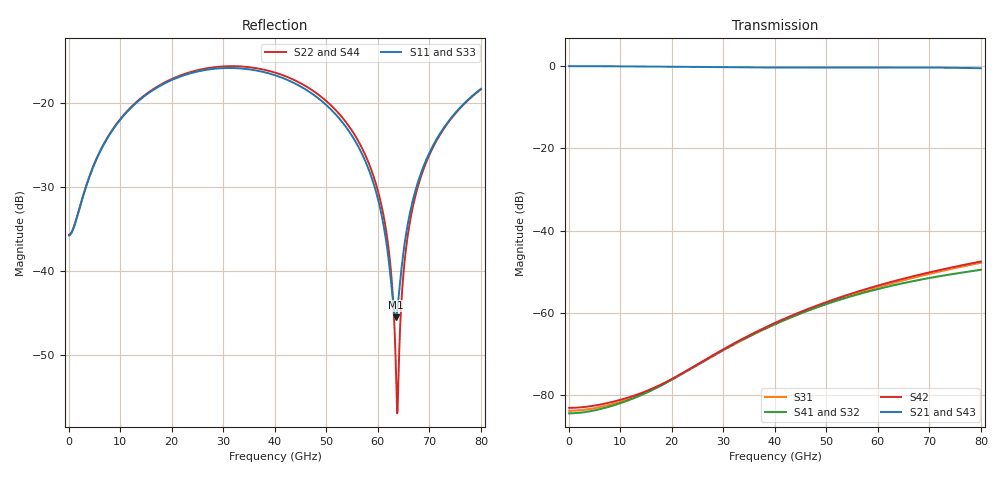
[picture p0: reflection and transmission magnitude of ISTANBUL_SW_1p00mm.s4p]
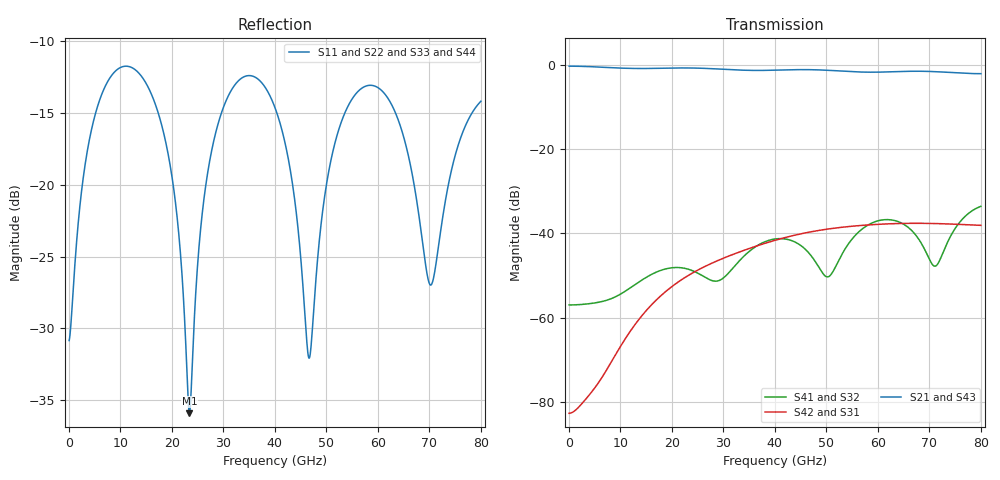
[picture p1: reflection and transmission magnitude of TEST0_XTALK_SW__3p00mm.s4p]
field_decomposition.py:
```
"""
Istanbul 5 mm pair, CST field monitors at 30 GHz, port 1 (line A near end) driven.
Lines of samples along z at x = 1 um (mid gold height), y = +-0.305425 mm
(centre of the signal-ground gap of A / B on the side facing the other line).

1. Cell-average (200 um period) E_y and H_x.
2. Line A: fit forward + backward line waves (common gamma, wave impedance Zw).
3. Line B: forward and backward envelopes (polynomial in z) on the line gamma,
   from E and from H separately.
4. Group delay of NEXT / FEXT / through from the four .s4p files.
"""
import os, numpy as np
from scipy.optimize import least_squares
import matplotlib; matplotlib.use("Agg"); import matplotlib.pyplot as plt

HERE = os.path.dirname(os.path.abspath(__file__)); UP = os.path.dirname(HERE)
F0, C0, W, L = 30e9, 2.99792458e8, 100, 5.0
K0 = 2*np.pi*F0/C0*1e-3                          # rad/mm

def load(n):
    a = np.loadtxt(os.path.join(HERE, n), skiprows=2)
    return a[:, 2], a[:, 3::2] + 1j*a[:, 4::2]
z, EA = load("e-field_f30_Ypos_A.txt"); _, EB = load("e-field_f30_Yneg_B.txt")
_, HA = load("h-field_f30_Ypos_A.txt"); _, HB = load("h-field_f30_Yneg_B.txt")
cav = lambda v: np.convolve(v, np.ones(W)/W, mode="valid")
zc = cav(z); E = {"A": cav(EA[:, 1]), "B": cav(EB[:, 1])}; H = {"A": cav(HA[:, 0]), "B": cav(HB[:, 0])}
m = (zc > 0.25) & (zc < 4.75); zz = zc[m]

# ---- line A: two line waves, E and H jointly
def fitA(q, ret=False):
    beta, alpha, zr, zi = q; Zw = zr + 1j*zi; g = alpha + 1j*beta
    ef, eb = np.exp(-g*zz), np.exp(g*zz)
    M = np.vstack([np.column_stack([ef, eb]), np.column_stack([ef/Zw, -eb/Zw])])
    y = np.concatenate([E["A"][m], H["A"][m]])
    sc = np.concatenate([np.full(m.sum(), 1/abs(E["A"][m]).mean()), np.full(m.sum(), 1/abs(H["A"][m]).mean())])
    ab, *_ = np.linalg.lstsq(M*sc[:, None], y*sc, rcond=None)
    r = (M @ ab - y)*sc
    return (ab, np.linalg.norm(r)/np.linalg.norm(y*sc)) if ret else np.concatenate([r.real, r.imag])
q = min((least_squares(fitA, [2.1*K0, 0.01, s, 0]) for s in (-300, 300)), key=lambda s: s.cost).x
(aA, bA), errA = fitA(q, True); g = q[1] + 1j*q[0]; Zw = q[2] + 1j*q[3]

# ---- line B: polynomial envelopes on the line gamma, E and H separately
KP = 3
def envB(y):
    cols = [np.exp(-g*zz)*(zz/L)**k for k in range(KP)] + [np.exp(g*zz)*((L-zz)/L)**k for k in range(KP)]
    M = np.column_stack(cols); c, *_ = np.linalg.lstsq(M, y, rcond=None)
    return c, np.linalg.norm(M @ c - y)/np.linalg.norm(y)
cE, errE = envB(E["B"][m]); cH, errH = envB(H["B"][m])
fwd = lambda c, x: sum(c[k]*(x/L)**k for k in range(KP))
bwd = lambda c, x: sum(c[KP+k]*((L-x)/L)**k for k in range(KP))
db = lambda x: 20*np.log10(np.abs(x))

# ---- group delays from the s-parameters
import skrf
files = [("1", "ISTANBUL_SW_1p00mm.s4p"), ("3", "TEST0_XTALK_SW__3p00mm.s4p"),
         ("5", "TEST0_XTALK_SW_5mm.s4p"), ("8.75", "ISTANBUL_SW_8p75mm.s4p")]
gd_rows = []
for lab, fn in files:
    n = skrf.Network(os.path.join(UP, fn)); w = 2*np.pi*n.f
    gd = lambda x: -np.gradient(np.unwrap(np.angle(x)), w)*1e12
    sel = (n.f >= 10e9) & (n.f <= 40e9)
    t21, tN, tF = (np.median(gd(n.s[:, i, 0])[sel]) for i in (1, 2, 3))
    i30 = np.argmin(abs(n.f - F0))
    gd_rows.append((float(lab), t21, tN, tF, db(n.s[i30, 2, 0]), db(n.s[i30, 3, 0])))

if __name__ == "__main__":
    print(f"A: n = {q[0]/K0:.4f}, alpha = {q[1]*86.86:.2f} dB/cm, Zw = {Zw:.0f}, |b/a| = {abs(bA/aA):.3f}, fit residual {errA:.4f}")
    print(f"B envelope fits: residual E {errE:.4f}, H {errH:.4f}")
    print(" z(mm)  B fwd/E  B fwd/H   B bwd/E  B bwd/H  (dB re A forward)")
    for x in (0.25, 1, 2, 3, 4, 4.75):
        print(f" {x:5.2f}  {db(fwd(cE,x)/aA):6.1f}  {db(fwd(cH,x)*Zw/aA):6.1f}   {db(bwd(cE,x)/aA):6.1f}  {db(-bwd(cH,x)*Zw/aA):6.1f}")
    print(" L(mm)  t21   tNEXT  tNEXT/t21  (ps, median 10-40 GHz)   NEXT, FEXT at 30 GHz (dB)")
    for r in gd_rows:
        print(f" {r[0]:5.2f} {r[1]:6.1f} {r[2]:6.1f}  {r[2]/r[1]:5.2f}    {r[4]:6.1f} {r[5]:6.1f}")

    fig, ax = plt.subplots(3, 1, figsize=(9, 10), gridspec_kw=dict(height_ratios=[1, 1, 0.9]))
    a0 = ax[0]
    a0.plot(z, db(EA[:, 1]/aA), color="#3f7fd0", lw=0.8, label="line A, raw")
    a0.plot(z, db(EB[:, 1]/aA), color="#e2504a", lw=0.8, label="line B, raw")
    a0.plot(zc, db(E["B"]/aA), color="#8b1a1a", lw=1.8, label="line B, cell-averaged")
    a0.set_ylabel("$|E_y|$ re A forward wave (dB)"); a0.set_xlim(-0.05, 5.05); a0.set_ylim(-75, 10)
    a0.set_title("Istanbul 5 mm, 30 GHz, port 1 (A near end) driven: $E_y$ at the centre of the inner gaps")
    a1 = ax[1]; xs = np.linspace(0.25, 4.75, 200)
    a1.plot(xs, db(bwd(cE, xs)/aA), color="#8b1a1a", lw=2, label="B backward wave, from $E_y$")
    a1.plot(xs, db(-bwd(cH, xs)*Zw/aA), "--", color="#8b1a1a", lw=1.5, label="B backward wave, from $H_x$")
    a1.plot(xs, db(fwd(cE, xs)/aA), color="#2e8b57", lw=2, label="B forward wave, from $E_y$")
    a1.plot(xs, db(fwd(cH, xs)*Zw/aA), "--", color="#2e8b57", lw=1.5, label="B forward wave, from $H_x$")
    a1.axhline(gd_rows[2][4], color="#8b1a1a", ls=":", lw=1, label=f"|S31| NEXT = {gd_rows[2][4]:.1f} dB")
    a1.axhline(gd_rows[2][5], color="#2e8b57", ls=":", lw=1, label=f"|S41| FEXT = {gd_rows[2][5]:.1f} dB")
    a1.set_ylabel("wave amplitude on B\nre A forward wave (dB)"); a1.set_xlabel("z (mm)"); a1.set_xlim(-0.05, 5.05)
    a2 = ax[2]; Ls = [r[0] for r in gd_rows]
    a2.plot(Ls, [r[1] for r in gd_rows], "o-", color="#3f7fd0", label="through S21")
    a2.plot(Ls, [r[2] for r in gd_rows], "s-", color="#8b1a1a", label="NEXT S31")
    a2.plot(Ls, [2*r[1] for r in gd_rows], ":", color="#3f7fd0", label="2 x through (round trip)")
    a2.set_xlabel("line length (mm)"); a2.set_ylabel("group delay, median 10-40 GHz (ps)")
    for a in ax:
        a.grid(alpha=0.3); a.legend(fontsize=8, loc="best")
    fig.tight_layout(); fig.savefig(os.path.join(HERE, "field_decomposition.png"), dpi=130)
```
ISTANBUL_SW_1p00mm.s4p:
! TOUCHSTONE file generated by CST MICROWAVE STUDIO
! Date and time: Wed Oct 21 13:39:17 2026
! Project name: TEST0_XTALK_SW_1mm.cst
! Parameters = {L=1; L1=0.01; L2=0.076; PITCH=0.2; START_POSITION=0.075; W1=0.002; W2=0.022; gap=0.00415; interaxis=0.625; ln_thickness=0.000275; mtx=0.002; si_thickness=0.3; sio2_thickness=0.0047; w=1; wg=0.03; ws=0.01}
! Header version: 2024
! Port assignment regex: !\s*Touchstone port\s*([0-9]+)\s*=\s*(CST MWS port|CST DES external port|CST DES block port)\s*(.+)\s* \(\"(.*)\"\)(\s*mode\s*([0-9]+))?.*
! Touchstone port assignment:
! Touchstone port 1 = CST MWS port 1 ("")
! Touchstone port 2 = CST MWS port 2 ("")
! Touchstone port 3 = CST MWS port 3 ("")
! Touchstone port 4 = CST MWS port 4 ("")
# GHz S MA R 50
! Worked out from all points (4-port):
!   1000 points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, 80 MHz to 80 GHz, reference 50 ohm
!   strongest paths, dB at 80 MHz, 20.08 GHz, 40.08 GHz, 60.08 GHz, 80 GHz:
!     S21: -0.1, -0.3, -0.5, -0.4, -0.6
!     S43: -0.1, -0.3, -0.5, -0.4, -0.6
!     S42: -83.0, -75.9, -62.4, -53.3, -47.5
!     S41: -84.3, -76.1, -62.6, -54.2, -49.5
!     S32: -84.3, -76.1, -62.6, -54.2, -49.5
!     S31: -83.7, -76.1, -62.7, -53.7, -47.8
!   lowest |S11| = -45.5 dB at 63.44 GHz (marker M1), VSWR 1.01, Z = 50.5 + j0.0504 ohm
!   |S11| at or under -10 dB: start of sweep to end of sweep
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0.08  0.01632 2.1  0.9835 -0.2  6.532e-05 178.9  6.08e-05 -1.1
      0.9835 -0.2  0.01648 2.0  6.083e-05 -1.1  7.081e-05 178.9
      6.532e-05 178.9  6.083e-05 -1.1  0.01632 2.1  0.9835 -0.2
      6.08e-05 -1.1  7.081e-05 178.9  0.9835 -0.2  0.01648 2.0
63.44  0.005305 5.4  0.9501 -175.9  0.002356 -51.4  0.002196 127.5
       0.9501 -175.9  0.003063 -76.1  0.002196 127.5  0.002464 -50.1
       0.002356 -51.4  0.002196 127.5  0.005304 5.4  0.9501 -175.9
       0.002196 127.5  0.002464 -50.1  0.9501 -175.9  0.003063 -76.1
80  0.1222 54.5  0.9283 136.9  0.004067 -173.7  0.003344 -1.2
    0.9283 136.9  0.1214 31.7  0.003344 -1.1  0.004218 -171.9
    0.004067 -173.7  0.003344 -1.1  0.1222 54.5  0.9283 136.9
    0.003344 -1.2  0.004218 -171.9  0.9283 136.9  0.1214 31.7
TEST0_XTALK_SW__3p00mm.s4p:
! TOUCHSTONE file generated by CST MICROWAVE STUDIO
! Date and time: Thu Oct 22 15:25:15 2026
! Project name: TEST0_XTALK_SW_3mm.cst
! Parameters = {L=3; L1=0.01; L2=0.076; PITCH=0.2; START_POSITION=0.1; W1=0.002; W2=0.022; gap=0.00415; interaxis=0.625; ln_thickness=0.000275; mtx=0.002; si_thickness=0.3; sio2_thickness=0.0047; w=1; wg=0.03; ws=0.01}
! Header version: 2024
! Port assignment regex: !\s*Touchstone port\s*([0-9]+)\s*=\s*(CST MWS port|CST DES external port|CST DES block port)\s*(.+)\s* \(\"(.*)\"\)(\s*mode\s*([0-9]+))?.*
! Touchstone port assignment:
! Touchstone port 1 = CST MWS port 1 ("")
! Touchstone port 2 = CST MWS port 2 ("")
! Touchstone port 3 = CST MWS port 3 ("")
! Touchstone port 4 = CST MWS port 4 ("")
# GHz S MA R 50
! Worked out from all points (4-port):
!   1000 points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, 80 MHz to 80 GHz, reference 50 ohm
!   strongest paths, dB at 80 MHz, 20.08 GHz, 40.08 GHz, 60.08 GHz, 80 GHz:
!     S21: -0.3, -0.7, -1.2, -1.7, -2.0
!     S43: -0.3, -0.7, -1.2, -1.7, -2.0
!     S42: -82.7, -52.6, -41.6, -37.8, -38.1
!     S31: -82.7, -52.6, -41.6, -37.8, -38.1
!     S41: -57.0, -48.1, -41.3, -37.0, -33.6
!     S32: -57.0, -48.1, -41.3, -37.0, -33.6
!   lowest |S11| = -35.9 dB at 23.44 GHz (marker M1), VSWR 1.03, Z = 51.6 - j0.13 ohm
!   |S11| at or under -10 dB: start of sweep to end of sweep
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0.08  0.02868 5.3  0.9713 -0.6  7.33e-05 176.5  0.001416 -2.4
      0.9713 -0.6  0.02867 5.3  0.001416 -2.4  7.315e-05 176.5
      7.328e-05 176.5  0.001416 -2.4  0.02868 5.3  0.9713 -0.6
      0.001416 -2.4  7.314e-05 176.5  0.9713 -0.6  0.02868 5.3
23.44  0.01599 -4.5  0.9245 -178.5  0.003234 -38.0  0.003727 91.2
       0.9245 -178.5  0.01603 -4.6  0.003727 91.2  0.003234 -38.0
       0.003234 -38.0  0.003727 91.2  0.01599 -4.5  0.9245 -178.5
       0.003727 91.2  0.003234 -38.0  0.9245 -178.5  0.01603 -4.6
80  0.1957 11.8  0.791 116.2  0.0125 50.0  0.02101 36.5
    0.791 116.2  0.1956 11.8  0.02101 36.5  0.0125 50.0
    0.0125 50.0  0.02101 36.5  0.1957 11.8  0.7909 116.2
    0.02101 36.5  0.0125 50.0  0.7909 116.2  0.1956 11.8
